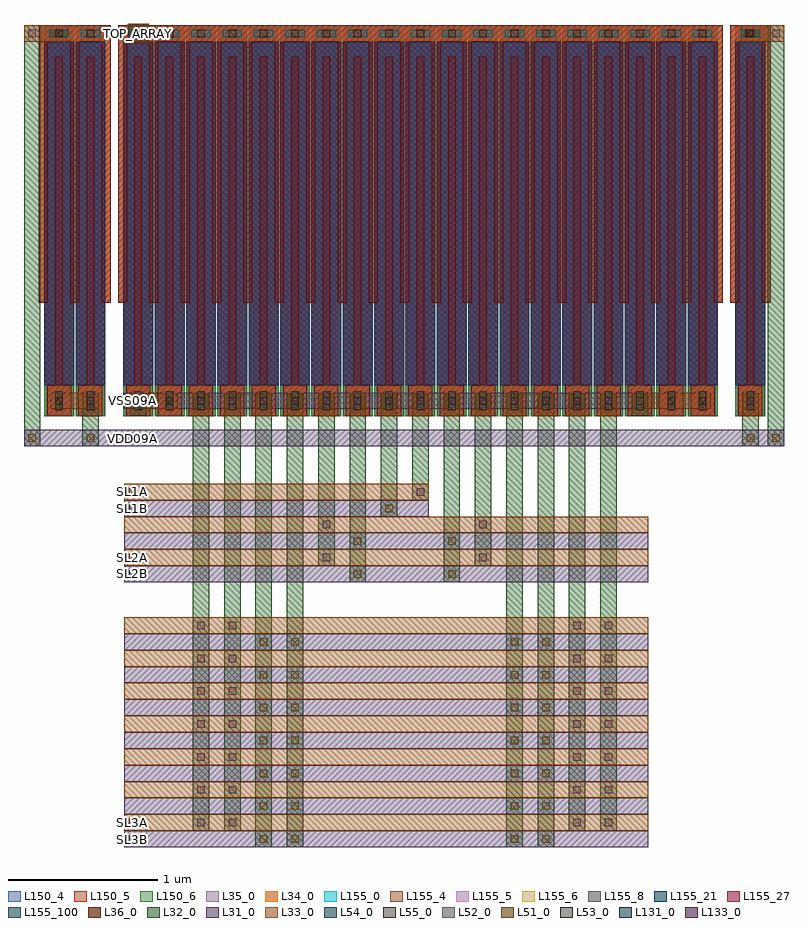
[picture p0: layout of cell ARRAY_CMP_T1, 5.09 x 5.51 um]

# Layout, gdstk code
from math import pi, radians
import gdstk
lib = gdstk.Library(unit=1e-6, precision=1e-09)
def R(c, l, rs):  # rectangles x0, y0, x1, y1
    for r in rs: c.add(gdstk.rectangle(r[:2], r[2:], *l))
def A(c, l, x, y, w, h, nx, ny, dx, dy):  # array of equal rectangles
    R(c, l, [(x+i*dx, y+j*dy, x+i*dx+w, y+j*dy+h) for i in range(nx) for j in range(ny)])
L31_0 = (31, 0)
L32_0 = (32, 0)
L33_0 = (33, 0)
L34_0 = (34, 0)
L35_0 = (35, 0)
L36_0 = (36, 0)
L51_0 = (51, 0)
L52_0 = (52, 0)
L53_0 = (53, 0)
L54_0 = (54, 0)
L55_0 = (55, 0)
L131_0 = (131, 0)
L133_0 = (133, 0)
L150_4 = (150, 4)
L150_5 = (150, 5)
L150_6 = (150, 6)
L155_0 = (155, 0)
L155_4 = (155, 4)
L155_5 = (155, 5)
L155_6 = (155, 6)
L155_8 = (155, 8)
L155_21 = (155, 21)
L155_27 = (155, 27)
L155_100 = (155, 100)

m5_m4_cdns_617193512516 = lib.new_cell('M5_M4_CDNS_617193512516')
R(m5_m4_cdns_617193512516, L34_0, [(-0.07,-0.105,0.07,0.105)])
R(m5_m4_cdns_617193512516, L35_0, [(-0.07,-0.105,0.07,0.105)])
R(m5_m4_cdns_617193512516, L54_0, [(-0.025,-0.065,0.025,0.065)])

m6_m5_cdns_617193512517 = lib.new_cell('M6_M5_CDNS_617193512517')
R(m6_m5_cdns_617193512517, L35_0, [(-0.07,-0.105,0.07,0.105)])
R(m6_m5_cdns_617193512517, L36_0, [(-0.055,-0.105,0.055,0.105)])
R(m6_m5_cdns_617193512517, L55_0, [(-0.025,-0.065,0.025,0.065)])

m5_m4_cdns_617193512518 = lib.new_cell('M5_M4_CDNS_617193512518')
R(m5_m4_cdns_617193512518, L34_0, [(-0.095,-0.055,0.095,0.055)])
R(m5_m4_cdns_617193512518, L35_0, [(-0.12,-0.055,0.12,0.055)])
R(m5_m4_cdns_617193512518, L54_0, [(-0.065,-0.025,0.065,0.025)])

m6_m5_cdns_617193512519 = lib.new_cell('M6_M5_CDNS_617193512519')
R(m6_m5_cdns_617193512519, L35_0, [(-0.055,-0.055,0.055,0.055)])
R(m6_m5_cdns_617193512519, L36_0, [(-0.055,-0.055,0.055,0.055)])
R(m6_m5_cdns_617193512519, L55_0, [(-0.025,-0.025,0.025,0.025)])

cu1f = lib.new_cell('CU1F')
R(cu1f, L34_0, [(0.02,0,0.18,0.21), (-0.035,2.51,0.235,2.62)])
R(cu1f, L35_0, [(0.02,0,0.18,0.21), (-0.035,2.51,0.235,2.62)])
R(cu1f, L36_0, [(0.02,0,0.18,0.21), (-0.035,2.51,0.235,2.62)])
R(cu1f, L150_4, [(0,0,0.2,2.62)])
R(cu1f, L150_5, [(0,0,0.2,2.62)])
R(cu1f, L150_6, [(0,0,0.2,2.62)])
R(cu1f, L155_0, [(0,0.21,0.2,2.51)])
R(cu1f, L155_4, [(0,0.21,0.2,2.51)])
R(cu1f, L155_5, [(0,0.21,0.2,2.51)])
R(cu1f, L155_6, [(0,0.21,0.2,2.51)])
R(cu1f, L155_8, [(0,0.21,0.2,2.51)])
R(cu1f, L155_21, [(0,0.21,0.2,2.51)])
R(cu1f, L155_27, [(0,0.21,0.2,2.51)])
R(cu1f, L155_100, [(0,0.21,0.2,2.51)])
cu1f.add(gdstk.FlexPath([(0.205,2.59),(0.205,0.76)], 0.06, ends=(0.03, 0), simple_path=True, layer=34, datatype=0))  # L34_0
cu1f.add(gdstk.FlexPath([(0.1,2.41),(0.1,0)], 0.05, ends="flush", simple_path=True, layer=34, datatype=0))  # L34_0
cu1f.add(gdstk.FlexPath([(-0.005,2.59),(-0.005,0.76)], 0.06, ends=(0.03, 0), simple_path=True, layer=34, datatype=0))  # L34_0
cu1f.add(gdstk.FlexPath([(0.205,0.76),(0.205,2.59)], 0.06, ends=(0, 0.03), simple_path=True, layer=35, datatype=0))  # L35_0
cu1f.add(gdstk.FlexPath([(0.1,2.41),(0.1,0)], 0.05, ends="flush", simple_path=True, layer=35, datatype=0))  # L35_0
cu1f.add(gdstk.FlexPath([(-0.005,0.76),(-0.005,2.59)], 0.06, ends=(0, 0.03), simple_path=True, layer=35, datatype=0))  # L35_0
cu1f.add(gdstk.FlexPath([(0.205,0.76),(0.205,2.59)], 0.06, ends=(0, 0.03), simple_path=True, layer=36, datatype=0))  # L36_0
cu1f.add(gdstk.FlexPath([(0.1,2.41),(0.1,0)], 0.05, ends="flush", simple_path=True, layer=36, datatype=0))  # L36_0
cu1f.add(gdstk.FlexPath([(-0.005,0.76),(-0.005,2.59)], 0.06, ends=(0, 0.03), simple_path=True, layer=36, datatype=0))  # L36_0
cu1f.add(gdstk.Reference(m5_m4_cdns_617193512516, (0.1,0.105), rotation=pi, x_reflection=True))
cu1f.add(gdstk.Reference(m6_m5_cdns_617193512517, (0.1,0.105), rotation=pi, x_reflection=True))
cu1f.add(gdstk.Reference(m5_m4_cdns_617193512518, (0.1,2.565)))
cu1f.add(gdstk.Reference(m6_m5_cdns_617193512519, (0.1,2.565)))

m2_m1_cdns_617193512510 = lib.new_cell('M2_M1_CDNS_617193512510')
R(m2_m1_cdns_617193512510, L31_0, [(-0.055,-0.055,0.055,0.055)])
R(m2_m1_cdns_617193512510, L32_0, [(-0.055,-0.055,0.055,0.055)])
R(m2_m1_cdns_617193512510, L51_0, [(-0.025,-0.025,0.025,0.025)])

m3_m2_cdns_617193512511 = lib.new_cell('M3_M2_CDNS_617193512511')
R(m3_m2_cdns_617193512511, L32_0, [(-0.055,-0.055,0.055,0.055)])
R(m3_m2_cdns_617193512511, L33_0, [(-0.055,-0.055,0.055,0.055)])
R(m3_m2_cdns_617193512511, L52_0, [(-0.025,-0.025,0.025,0.025)])

m4_m3_cdns_617193512512 = lib.new_cell('M4_M3_CDNS_617193512512')
R(m4_m3_cdns_617193512512, L33_0, [(-0.055,-0.055,0.055,0.055)])
R(m4_m3_cdns_617193512512, L34_0, [(-0.055,-0.055,0.055,0.055)])
R(m4_m3_cdns_617193512512, L53_0, [(-0.025,-0.025,0.025,0.025)])

m4_m3_cdns_617193512513 = lib.new_cell('M4_M3_CDNS_617193512513')
R(m4_m3_cdns_617193512513, L33_0, [(-0.07,-0.065,0.07,0.065)])
R(m4_m3_cdns_617193512513, L34_0, [(-0.055,-0.055,0.055,0.055)])
R(m4_m3_cdns_617193512513, L53_0, [(-0.025,-0.025,0.025,0.025)])

m3_m2_cdns_617193512514 = lib.new_cell('M3_M2_CDNS_617193512514')
R(m3_m2_cdns_617193512514, L32_0, [(-0.065,-0.06,0.065,0.06)])
R(m3_m2_cdns_617193512514, L33_0, [(-0.07,-0.065,0.07,0.065)])
R(m3_m2_cdns_617193512514, L52_0, [(-0.025,-0.025,0.025,0.025)])

m2_m1_cdns_617193512515 = lib.new_cell('M2_M1_CDNS_617193512515')
R(m2_m1_cdns_617193512515, L31_0, [(-0.055,-0.055,0.055,0.055)])
R(m2_m1_cdns_617193512515, L32_0, [(-0.065,-0.06,0.065,0.06)])
R(m2_m1_cdns_617193512515, L51_0, [(-0.025,-0.025,0.025,0.025)])

array_cmp_t1 = lib.new_cell('ARRAY_CMP_T1')
A(array_cmp_t1, L31_0, 0.535, -2.885, 3.51, 0.11, 1, 7, 0, 0.22)
R(array_cmp_t1, L31_0, [(0.535,-1.11,4.045,-1), (0.535,-0.89,4.045,-0.78), (0.535,-0.67,2.575,-0.56), (-0.135,-0.2,4.955,-0.09), (0.535,0.05,4.045,0.16), (0.56,2.5,0.7,2.63)])
R(array_cmp_t1, L32_0, [(1.415,-2.885,1.525,0.16), (1.625,-2.885,1.735,0.16), (3.095,-2.885,3.205,0.16), (3.305,-2.885,3.415,0.16), (0.995,-2.775,1.105,0.16), (1.205,-2.775,1.315,0.16), (3.515,-2.775,3.625,0.16), (3.725,-2.775,3.835,0.16), (2.045,-1.11,2.155,0.16), (2.675,-1.11,2.785,0.16), (1.835,-1,1.945,0.16), (2.885,-1,2.995,0.16), (2.255,-0.67,2.365,0.16), (2.465,-0.56,2.575,0.16), (-0.135,-0.2,-0.025,2.62), (0.255,-0.2,0.365,0.16), (4.675,-0.2,4.785,0.16), (4.845,-0.2,4.955,2.62), (0.575,0,0.685,0.16), (3.935,0,4.045,0.16)])
A(array_cmp_t1, L33_0, 0.535, -2.775, 3.51, 0.11, 1, 7, 0, 0.22)
A(array_cmp_t1, L33_0, 0.995, 0, 0.11, 0.16, 14, 1, 0.21, 0)
R(array_cmp_t1, L33_0, [(0.535,-1,4.045,-0.89), (0.535,-0.78,4.045,-0.67), (0.535,-0.56,2.575,-0.45), (4.675,0,4.785,0.16), (0.045,0.05,0.365,0.16), (0.575,0.05,0.895,0.16), (3.935,0.05,4.465,0.16), (-0.135,2.51,0.155,2.62), (4.665,2.51,4.955,2.62)])
R(array_cmp_t1, L131_0, [(0.565,-2.855,0.615,-2.805), (0.565,-1.08,0.615,-1.03), (0.565,-0.64,0.615,-0.59), (0.565,-0.17,0.615,-0.12), (0.565,0.08,0.615,0.13), (0.605,2.54,0.655,2.59)])
R(array_cmp_t1, L133_0, [(0.565,-2.745,0.615,-2.695), (0.565,-0.97,0.615,-0.92), (0.565,-0.53,0.615,-0.48)])
array_cmp_t1.add(gdstk.Reference(cu1f, (0,0)))
array_cmp_t1.add(gdstk.Reference(cu1f, (0.21,0)))
array_cmp_t1.add(gdstk.Reference(cu1f, (0.53,0)))
array_cmp_t1.add(gdstk.Reference(cu1f, (0.74,0)))
array_cmp_t1.add(gdstk.Reference(cu1f, (4.63,0)))
array_cmp_t1.add(gdstk.Reference(cu1f, (4.31,0)))
array_cmp_t1.add(gdstk.Reference(cu1f, (4.1,0)))
array_cmp_t1.add(gdstk.Reference(cu1f, (3.89,0)))
array_cmp_t1.add(gdstk.Reference(cu1f, (3.68,0)))
array_cmp_t1.add(gdstk.Reference(cu1f, (3.47,0)))
array_cmp_t1.add(gdstk.Reference(cu1f, (3.26,0)))
array_cmp_t1.add(gdstk.Reference(cu1f, (3.05,0)))
array_cmp_t1.add(gdstk.Reference(cu1f, (2.84,0)))
array_cmp_t1.add(gdstk.Reference(cu1f, (2.63,0)))
array_cmp_t1.add(gdstk.Reference(cu1f, (2.42,0)))
array_cmp_t1.add(gdstk.Reference(cu1f, (2.21,0)))
array_cmp_t1.add(gdstk.Reference(cu1f, (2,0)))
array_cmp_t1.add(gdstk.Reference(cu1f, (1.79,0)))
array_cmp_t1.add(gdstk.Reference(cu1f, (1.58,0)))
array_cmp_t1.add(gdstk.Reference(cu1f, (1.37,0)))
array_cmp_t1.add(gdstk.Reference(cu1f, (1.16,0)))
array_cmp_t1.add(gdstk.Reference(cu1f, (0.95,0)))
array_cmp_t1.add(gdstk.Reference(m2_m1_cdns_617193512510, (2.73,-1.055)))
array_cmp_t1.add(gdstk.Reference(m2_m1_cdns_617193512510, (2.1,-1.055)))
array_cmp_t1.add(gdstk.Reference(m2_m1_cdns_617193512510, (1.68,-1.51)))
array_cmp_t1.add(gdstk.Reference(m2_m1_cdns_617193512510, (3.36,-1.51)))
array_cmp_t1.add(gdstk.Reference(m2_m1_cdns_617193512510, (1.47,-1.51)))
array_cmp_t1.add(gdstk.Reference(m2_m1_cdns_617193512510, (3.15,-1.51)))
array_cmp_t1.add(gdstk.Reference(m2_m1_cdns_617193512510, (1.68,-1.73)))
array_cmp_t1.add(gdstk.Reference(m2_m1_cdns_617193512510, (3.36,-1.73)))
array_cmp_t1.add(gdstk.Reference(m2_m1_cdns_617193512510, (1.47,-1.73)))
array_cmp_t1.add(gdstk.Reference(m2_m1_cdns_617193512510, (3.15,-1.73)))
array_cmp_t1.add(gdstk.Reference(m2_m1_cdns_617193512510, (1.68,-1.95)))
array_cmp_t1.add(gdstk.Reference(m2_m1_cdns_617193512510, (3.36,-1.95)))
array_cmp_t1.add(gdstk.Reference(m2_m1_cdns_617193512510, (1.47,-1.95)))
array_cmp_t1.add(gdstk.Reference(m2_m1_cdns_617193512510, (3.15,-1.95)))
array_cmp_t1.add(gdstk.Reference(m2_m1_cdns_617193512510, (1.68,-2.17)))
array_cmp_t1.add(gdstk.Reference(m2_m1_cdns_617193512510, (3.36,-2.17)))
array_cmp_t1.add(gdstk.Reference(m2_m1_cdns_617193512510, (1.47,-2.17)))
array_cmp_t1.add(gdstk.Reference(m2_m1_cdns_617193512510, (3.15,-2.17)))
array_cmp_t1.add(gdstk.Reference(m2_m1_cdns_617193512510, (1.68,-2.39)))
array_cmp_t1.add(gdstk.Reference(m2_m1_cdns_617193512510, (3.36,-2.39)))
array_cmp_t1.add(gdstk.Reference(m2_m1_cdns_617193512510, (1.47,-2.39)))
array_cmp_t1.add(gdstk.Reference(m2_m1_cdns_617193512510, (3.15,-2.39)))
array_cmp_t1.add(gdstk.Reference(m2_m1_cdns_617193512510, (4.9,-0.145)))
array_cmp_t1.add(gdstk.Reference(m2_m1_cdns_617193512510, (-0.08,-0.145)))
array_cmp_t1.add(gdstk.Reference(m2_m1_cdns_617193512510, (1.68,-2.61)))
array_cmp_t1.add(gdstk.Reference(m2_m1_cdns_617193512510, (3.99,0.105)))
array_cmp_t1.add(gdstk.Reference(m2_m1_cdns_617193512510, (3.36,-2.61)))
array_cmp_t1.add(gdstk.Reference(m2_m1_cdns_617193512510, (1.47,-2.61)))
array_cmp_t1.add(gdstk.Reference(m2_m1_cdns_617193512510, (4.73,-0.145)))
array_cmp_t1.add(gdstk.Reference(m2_m1_cdns_617193512510, (0.31,-0.145)))
array_cmp_t1.add(gdstk.Reference(m2_m1_cdns_617193512510, (2.31,-0.615)))
array_cmp_t1.add(gdstk.Reference(m2_m1_cdns_617193512510, (2.1,-0.835)))
array_cmp_t1.add(gdstk.Reference(m2_m1_cdns_617193512510, (2.73,-0.835)))
array_cmp_t1.add(gdstk.Reference(m2_m1_cdns_617193512510, (1.68,-2.83)))
array_cmp_t1.add(gdstk.Reference(m2_m1_cdns_617193512510, (1.47,-2.83)))
array_cmp_t1.add(gdstk.Reference(m2_m1_cdns_617193512510, (3.15,-2.83)))
array_cmp_t1.add(gdstk.Reference(m2_m1_cdns_617193512510, (3.36,-2.83)))
array_cmp_t1.add(gdstk.Reference(m2_m1_cdns_617193512510, (3.15,-2.61)))
array_cmp_t1.add(gdstk.Reference(m2_m1_cdns_617193512510, (0.63,0.105)))
array_cmp_t1.add(gdstk.Reference(m3_m2_cdns_617193512511, (2.94,-0.945)))
array_cmp_t1.add(gdstk.Reference(m3_m2_cdns_617193512511, (1.89,-0.945)))
array_cmp_t1.add(gdstk.Reference(m3_m2_cdns_617193512511, (1.05,-1.4)))
array_cmp_t1.add(gdstk.Reference(m3_m2_cdns_617193512511, (3.78,-1.4)))
array_cmp_t1.add(gdstk.Reference(m3_m2_cdns_617193512511, (3.57,-1.4)))
array_cmp_t1.add(gdstk.Reference(m3_m2_cdns_617193512511, (1.26,-1.4)))
array_cmp_t1.add(gdstk.Reference(m3_m2_cdns_617193512511, (1.05,-1.62)))
array_cmp_t1.add(gdstk.Reference(m3_m2_cdns_617193512511, (3.78,-1.62)))
array_cmp_t1.add(gdstk.Reference(m3_m2_cdns_617193512511, (3.57,-1.62)))
array_cmp_t1.add(gdstk.Reference(m3_m2_cdns_617193512511, (1.26,-1.62)))
array_cmp_t1.add(gdstk.Reference(m3_m2_cdns_617193512511, (1.05,-1.84)))
array_cmp_t1.add(gdstk.Reference(m3_m2_cdns_617193512511, (3.78,-1.84)))
array_cmp_t1.add(gdstk.Reference(m3_m2_cdns_617193512511, (3.57,-1.84)))
array_cmp_t1.add(gdstk.Reference(m3_m2_cdns_617193512511, (1.26,-1.84)))
array_cmp_t1.add(gdstk.Reference(m3_m2_cdns_617193512511, (1.05,-2.06)))
array_cmp_t1.add(gdstk.Reference(m3_m2_cdns_617193512511, (3.78,-2.06)))
array_cmp_t1.add(gdstk.Reference(m3_m2_cdns_617193512511, (3.57,-2.06)))
array_cmp_t1.add(gdstk.Reference(m3_m2_cdns_617193512511, (1.26,-2.06)))
array_cmp_t1.add(gdstk.Reference(m3_m2_cdns_617193512511, (1.05,-2.28)))
array_cmp_t1.add(gdstk.Reference(m3_m2_cdns_617193512511, (3.78,-2.28)))
array_cmp_t1.add(gdstk.Reference(m3_m2_cdns_617193512511, (3.57,-2.28)))
array_cmp_t1.add(gdstk.Reference(m3_m2_cdns_617193512511, (1.26,-2.28)))
array_cmp_t1.add(gdstk.Reference(m3_m2_cdns_617193512511, (1.05,-2.5)))
array_cmp_t1.add(gdstk.Reference(m3_m2_cdns_617193512511, (3.78,-2.5)))
array_cmp_t1.add(gdstk.Reference(m3_m2_cdns_617193512511, (3.57,-2.5)))
array_cmp_t1.add(gdstk.Reference(m3_m2_cdns_617193512511, (3.57,-2.72)))
array_cmp_t1.add(gdstk.Reference(m3_m2_cdns_617193512511, (4.9,2.565)))
array_cmp_t1.add(gdstk.Reference(m3_m2_cdns_617193512511, (-0.08,2.565)))
array_cmp_t1.add(gdstk.Reference(m3_m2_cdns_617193512511, (1.05,0.105)))
array_cmp_t1.add(gdstk.Reference(m3_m2_cdns_617193512511, (1.26,0.105)))
array_cmp_t1.add(gdstk.Reference(m3_m2_cdns_617193512511, (1.47,0.105)))
array_cmp_t1.add(gdstk.Reference(m3_m2_cdns_617193512511, (1.68,0.105)))
array_cmp_t1.add(gdstk.Reference(m3_m2_cdns_617193512511, (1.89,0.105)))
array_cmp_t1.add(gdstk.Reference(m3_m2_cdns_617193512511, (2.1,0.105)))
array_cmp_t1.add(gdstk.Reference(m3_m2_cdns_617193512511, (2.31,0.105)))
array_cmp_t1.add(gdstk.Reference(m3_m2_cdns_617193512511, (2.52,0.105)))
array_cmp_t1.add(gdstk.Reference(m3_m2_cdns_617193512511, (2.73,0.105)))
array_cmp_t1.add(gdstk.Reference(m3_m2_cdns_617193512511, (2.94,0.105)))
array_cmp_t1.add(gdstk.Reference(m3_m2_cdns_617193512511, (3.15,0.105)))
array_cmp_t1.add(gdstk.Reference(m3_m2_cdns_617193512511, (3.36,0.105)))
array_cmp_t1.add(gdstk.Reference(m3_m2_cdns_617193512511, (3.57,0.105)))
array_cmp_t1.add(gdstk.Reference(m3_m2_cdns_617193512511, (3.78,0.105)))
array_cmp_t1.add(gdstk.Reference(m3_m2_cdns_617193512511, (4.73,0.105)))
array_cmp_t1.add(gdstk.Reference(m3_m2_cdns_617193512511, (3.99,0.105)))
array_cmp_t1.add(gdstk.Reference(m3_m2_cdns_617193512511, (0.63,0.105)))
array_cmp_t1.add(gdstk.Reference(m3_m2_cdns_617193512511, (0.31,0.105)))
array_cmp_t1.add(gdstk.Reference(m3_m2_cdns_617193512511, (1.26,-2.5)))
array_cmp_t1.add(gdstk.Reference(m3_m2_cdns_617193512511, (2.52,-0.505)))
array_cmp_t1.add(gdstk.Reference(m3_m2_cdns_617193512511, (2.94,-0.725)))
array_cmp_t1.add(gdstk.Reference(m3_m2_cdns_617193512511, (1.05,-2.72)))
array_cmp_t1.add(gdstk.Reference(m3_m2_cdns_617193512511, (3.78,-2.72)))
array_cmp_t1.add(gdstk.Reference(m3_m2_cdns_617193512511, (1.89,-0.725)))
array_cmp_t1.add(gdstk.Reference(m3_m2_cdns_617193512511, (1.26,-2.72)))
array_cmp_t1.add(gdstk.Reference(m4_m3_cdns_617193512512, (4.72,2.565), rotation=pi, x_reflection=True))
array_cmp_t1.add(gdstk.Reference(m4_m3_cdns_617193512512, (0.1,2.565)))
array_cmp_t1.add(gdstk.Reference(m4_m3_cdns_617193512512, (1.05,0.105)))
array_cmp_t1.add(gdstk.Reference(m4_m3_cdns_617193512512, (1.26,0.105)))
array_cmp_t1.add(gdstk.Reference(m4_m3_cdns_617193512512, (1.47,0.105)))
array_cmp_t1.add(gdstk.Reference(m4_m3_cdns_617193512512, (1.68,0.105)))
array_cmp_t1.add(gdstk.Reference(m4_m3_cdns_617193512512, (1.89,0.105)))
array_cmp_t1.add(gdstk.Reference(m4_m3_cdns_617193512512, (2.1,0.105)))
array_cmp_t1.add(gdstk.Reference(m4_m3_cdns_617193512512, (2.31,0.105)))
array_cmp_t1.add(gdstk.Reference(m4_m3_cdns_617193512512, (2.52,0.105)))
array_cmp_t1.add(gdstk.Reference(m4_m3_cdns_617193512512, (2.73,0.105)))
array_cmp_t1.add(gdstk.Reference(m4_m3_cdns_617193512512, (2.94,0.105)))
array_cmp_t1.add(gdstk.Reference(m4_m3_cdns_617193512512, (3.15,0.105)))
array_cmp_t1.add(gdstk.Reference(m4_m3_cdns_617193512512, (3.36,0.105)))
array_cmp_t1.add(gdstk.Reference(m4_m3_cdns_617193512512, (3.57,0.105)))
array_cmp_t1.add(gdstk.Reference(m4_m3_cdns_617193512512, (3.78,0.105)))
array_cmp_t1.add(gdstk.Reference(m4_m3_cdns_617193512512, (4.73,0.105)))
array_cmp_t1.add(gdstk.Reference(m4_m3_cdns_617193512512, (4.2,0.105)))
array_cmp_t1.add(gdstk.Reference(m4_m3_cdns_617193512512, (4.41,0.105)))
array_cmp_t1.add(gdstk.Reference(m4_m3_cdns_617193512512, (3.99,0.105)))
array_cmp_t1.add(gdstk.Reference(m4_m3_cdns_617193512512, (0.84,0.105)))
array_cmp_t1.add(gdstk.Reference(m4_m3_cdns_617193512512, (0.63,0.105)))
array_cmp_t1.add(gdstk.Reference(m4_m3_cdns_617193512512, (0.1,0.105)))
array_cmp_t1.add(gdstk.Reference(m4_m3_cdns_617193512512, (0.31,0.105)))
array_cmp_t1.add(gdstk.Reference(m4_m3_cdns_617193512513, (0.63,2.565)))
array_cmp_t1.add(gdstk.Reference(m3_m2_cdns_617193512514, (0.63,2.565)))
array_cmp_t1.add(gdstk.Reference(m2_m1_cdns_617193512515, (0.63,2.565)))
array_cmp_t1.add(gdstk.Label('SL3A', (0.59,-2.72), layer=133, texttype=0))
array_cmp_t1.add(gdstk.Label('SL1A', (0.59,-0.505), layer=133, texttype=0))
array_cmp_t1.add(gdstk.Label('SL2A', (0.59,-0.945), layer=133, texttype=0))
array_cmp_t1.add(gdstk.Label('VDD09A', (0.59,-0.145), layer=131, texttype=0))
array_cmp_t1.add(gdstk.Label('SL3B', (0.59,-2.83), layer=131, texttype=0))
array_cmp_t1.add(gdstk.Label('VSS09A', (0.59,0.105), layer=131, texttype=0))
array_cmp_t1.add(gdstk.Label('SL2B', (0.59,-1.055), layer=131, texttype=0))
array_cmp_t1.add(gdstk.Label('TOP_ARRAY', (0.628,2.565), layer=131, texttype=0))
array_cmp_t1.add(gdstk.Label('SL1B', (0.59,-0.615), layer=131, texttype=0))

lib.write_gds('ARRAY_CMP_T1.gds')
